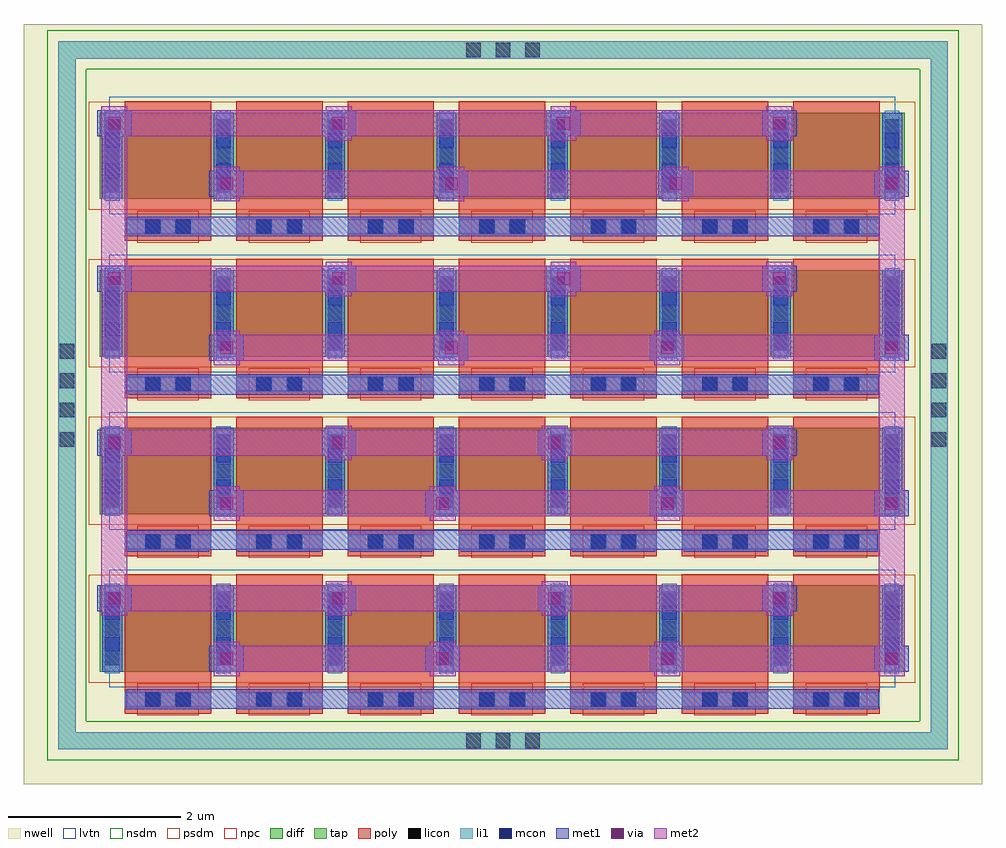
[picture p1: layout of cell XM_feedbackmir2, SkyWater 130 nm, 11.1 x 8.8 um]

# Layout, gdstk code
import gdstk
lib = gdstk.Library(unit=1e-6, precision=1e-09)
def R(c, l, rs):  # rectangles x0, y0, x1, y1
    for r in rs: c.add(gdstk.rectangle(r[:2], r[2:], *l))
def A(c, l, x, y, w, h, nx, ny, dx, dy):  # array of equal rectangles
    R(c, l, [(x+i*dx, y+j*dy, x+i*dx+w, y+j*dy+h) for i in range(nx) for j in range(ny)])
nwell = (64, 20)
diff = (65, 20)
tap = (65, 44)
poly = (66, 20)
licon = (66, 44)
li1 = (67, 20)
mcon = (67, 44)
met1 = (68, 20)
via = (68, 44)
met2 = (69, 20)
nsdm = (93, 44)
psdm = (94, 20)
npc = (95, 20)
lvtn = (125, 44)

sky130_fd_pr__pfet_01v8_ = lib.new_cell('sky130_fd_pr__pfet_01v8_lvt_9UM225')
A(sky130_fd_pr__pfet_01v8_, nwell, -4.84, -3.56, 9.68, 1.81, 1, 4, 0, 1.825)
A(sky130_fd_pr__pfet_01v8_, diff, -4.66, -3.06, 9.32, 1, 1, 4, 0, 1.825)
A(sky130_fd_pr__pfet_01v8_, poly, -4.37, -3.545, 1, 1.615, 7, 4, 1.29, 1.825)
A(sky130_fd_pr__pfet_01v8_, licon, -4.125, -3.465, 0.17, 0.17, 1, 4, 0, 1.825)
A(sky130_fd_pr__pfet_01v8_, licon, -3.785, -3.465, 0.17, 0.17, 1, 4, 0, 1.825)
A(sky130_fd_pr__pfet_01v8_, licon, -2.835, -3.465, 0.17, 0.17, 1, 4, 0, 1.825)
A(sky130_fd_pr__pfet_01v8_, licon, -2.495, -3.465, 0.17, 0.17, 1, 4, 0, 1.825)
A(sky130_fd_pr__pfet_01v8_, licon, -1.545, -3.465, 0.17, 0.17, 1, 4, 0, 1.825)
A(sky130_fd_pr__pfet_01v8_, licon, -1.205, -3.465, 0.17, 0.17, 1, 4, 0, 1.825)
A(sky130_fd_pr__pfet_01v8_, licon, -0.255, -3.465, 0.17, 0.17, 1, 4, 0, 1.825)
A(sky130_fd_pr__pfet_01v8_, licon, 0.085, -3.465, 0.17, 0.17, 1, 4, 0, 1.825)
A(sky130_fd_pr__pfet_01v8_, licon, 1.035, -3.465, 0.17, 0.17, 1, 4, 0, 1.825)
A(sky130_fd_pr__pfet_01v8_, licon, 1.375, -3.465, 0.17, 0.17, 1, 4, 0, 1.825)
A(sky130_fd_pr__pfet_01v8_, licon, 2.325, -3.465, 0.17, 0.17, 1, 4, 0, 1.825)
A(sky130_fd_pr__pfet_01v8_, licon, 2.665, -3.465, 0.17, 0.17, 1, 4, 0, 1.825)
A(sky130_fd_pr__pfet_01v8_, licon, 3.615, -3.465, 0.17, 0.17, 1, 4, 0, 1.825)
A(sky130_fd_pr__pfet_01v8_, licon, 3.955, -3.465, 0.17, 0.17, 1, 4, 0, 1.825)
A(sky130_fd_pr__pfet_01v8_, licon, -4.6, -2.985, 0.17, 0.17, 8, 3, 1.29, 0.34)
A(sky130_fd_pr__pfet_01v8_, licon, -4.6, -1.16, 0.17, 0.17, 8, 3, 1.29, 0.34)
A(sky130_fd_pr__pfet_01v8_, licon, -4.6, 0.665, 0.17, 0.17, 8, 3, 1.29, 0.34)
A(sky130_fd_pr__pfet_01v8_, licon, -4.6, 2.49, 0.17, 0.17, 8, 3, 1.29, 0.34)
A(sky130_fd_pr__pfet_01v8_, li1, -4.37, -3.465, 1, 0.17, 7, 4, 1.29, 1.825)
A(sky130_fd_pr__pfet_01v8_, li1, -4.6, -3.08, 0.17, 1.04, 8, 4, 1.29, 1.825)
A(sky130_fd_pr__pfet_01v8_, mcon, -4.135, -3.465, 0.17, 0.17, 1, 4, 0, 1.825)
A(sky130_fd_pr__pfet_01v8_, mcon, -3.775, -3.465, 0.17, 0.17, 1, 4, 0, 1.825)
A(sky130_fd_pr__pfet_01v8_, mcon, -2.845, -3.465, 0.17, 0.17, 1, 4, 0, 1.825)
A(sky130_fd_pr__pfet_01v8_, mcon, -2.485, -3.465, 0.17, 0.17, 1, 4, 0, 1.825)
A(sky130_fd_pr__pfet_01v8_, mcon, -1.555, -3.465, 0.17, 0.17, 1, 4, 0, 1.825)
A(sky130_fd_pr__pfet_01v8_, mcon, -1.195, -3.465, 0.17, 0.17, 1, 4, 0, 1.825)
A(sky130_fd_pr__pfet_01v8_, mcon, -0.265, -3.465, 0.17, 0.17, 1, 4, 0, 1.825)
A(sky130_fd_pr__pfet_01v8_, mcon, 0.095, -3.465, 0.17, 0.17, 1, 4, 0, 1.825)
A(sky130_fd_pr__pfet_01v8_, mcon, 1.025, -3.465, 0.17, 0.17, 1, 4, 0, 1.825)
A(sky130_fd_pr__pfet_01v8_, mcon, 1.385, -3.465, 0.17, 0.17, 1, 4, 0, 1.825)
A(sky130_fd_pr__pfet_01v8_, mcon, 2.315, -3.465, 0.17, 0.17, 1, 4, 0, 1.825)
A(sky130_fd_pr__pfet_01v8_, mcon, 2.675, -3.465, 0.17, 0.17, 1, 4, 0, 1.825)
A(sky130_fd_pr__pfet_01v8_, mcon, 3.605, -3.465, 0.17, 0.17, 1, 4, 0, 1.825)
A(sky130_fd_pr__pfet_01v8_, mcon, 3.965, -3.465, 0.17, 0.17, 1, 4, 0, 1.825)
A(sky130_fd_pr__pfet_01v8_, mcon, -4.6, -2.825, 0.17, 0.17, 8, 2, 1.29, 0.36)
A(sky130_fd_pr__pfet_01v8_, mcon, -4.6, -1, 0.17, 0.17, 8, 2, 1.29, 0.36)
A(sky130_fd_pr__pfet_01v8_, mcon, -4.6, 0.825, 0.17, 0.17, 8, 2, 1.29, 0.36)
A(sky130_fd_pr__pfet_01v8_, mcon, -4.6, 2.65, 0.17, 0.17, 8, 2, 1.29, 0.36)
A(sky130_fd_pr__pfet_01v8_, met1, -4.35, -3.495, 0.96, 0.23, 7, 4, 1.29, 1.825)
A(sky130_fd_pr__pfet_01v8_, met1, -4.63, -3.06, 0.23, 1, 8, 4, 1.29, 1.825)
A(sky130_fd_pr__pfet_01v8_, psdm, -4.785, -3.185, 9.57, 1.25, 1, 4, 0, 1.825)
A(sky130_fd_pr__pfet_01v8_, npc, -4.225, -3.565, 0.71, 0.37, 7, 4, 1.29, 1.825)
A(sky130_fd_pr__pfet_01v8_, lvtn, -4.55, -3.24, 9.1, 1.36, 1, 4, 0, 1.825)

xm_feedbackmir2 = lib.new_cell('XM_feedbackmir2')
R(xm_feedbackmir2, nwell, [(-0.7,-0.8,10.4,8)])
R(xm_feedbackmir2, tap, [(-0.3,-0.4,10,-0.2), (-0.3,-0.2,-0.1,7.6), (9.8,-0.2,10,7.6), (-0.3,7.6,10,7.8)])
A(xm_feedbackmir2, licon, 4.425, -0.385, 0.17, 0.17, 3, 2, 0.34, 8)
A(xm_feedbackmir2, licon, -0.285, 3.105, 0.17, 0.17, 1, 4, 0, 0.34)
A(xm_feedbackmir2, licon, 9.815, 3.105, 0.17, 0.17, 1, 4, 0, 0.34)
R(xm_feedbackmir2, li1, [(-0.3,-0.4,10,-0.2), (-0.3,-0.2,-0.1,7.6), (9.8,-0.2,10,7.6), (-0.3,7.6,10,7.8)])
A(xm_feedbackmir2, met1, 1.45, 0.5, 0.4, 0.3, 1, 3, 0, 1.8)
A(xm_feedbackmir2, met1, 3.95, 0.5, 0.4, 0.3, 3, 2, 2.6, 1.8)
A(xm_feedbackmir2, met1, 0.15, 4.9, 0.4, 0.3, 3, 2, 2.6, 1.8)
A(xm_feedbackmir2, met1, 1.45, 6, 0.4, 0.3, 3, 1, 2.6, 0)
R(xm_feedbackmir2, met1, [(0.51,0.07,9.2,0.3), (0.15,1.2,0.55,1.5), (2.75,1.2,3.15,1.5), (5.25,1.2,5.65,1.5), (7.85,1.2,8.25,1.5), (0.5,1.91,9.19,2.14), (0.15,3,0.55,3.3), (2.75,3,3.15,3.3), (5.25,3,5.65,3.3), (7.85,3,8.25,3.3), (0.51,3.71,9.2,3.94), (4.05,4.1,4.45,4.4), (6.55,4.1,6.95,4.4), (9.15,4.1,9.55,4.4), (7.85,4.9,8.25,5.2), (0.52,5.54,9.21,5.77), (9.15,6,9.55,6.3), (7.85,6.7,8.25,7)])
A(xm_feedbackmir2, via, 1.575, 0.575, 0.15, 0.15, 1, 3, 0, 1.8)
A(xm_feedbackmir2, via, 4.075, 0.575, 0.15, 0.15, 3, 2, 2.6, 1.8)
A(xm_feedbackmir2, via, 0.275, 4.975, 0.15, 0.15, 3, 2, 2.6, 1.8)
A(xm_feedbackmir2, via, 1.575, 6.075, 0.15, 0.15, 3, 1, 2.6, 0)
R(xm_feedbackmir2, via, [(0.275,1.275,0.425,1.425), (2.875,1.275,3.025,1.425), (5.375,1.275,5.525,1.425), (7.975,1.275,8.125,1.425), (0.275,3.075,0.425,3.225), (2.875,3.075,3.025,3.225), (5.375,3.075,5.525,3.225), (7.975,3.075,8.125,3.225), (4.175,4.175,4.325,4.325), (6.675,4.175,6.825,4.325), (9.275,4.175,9.425,4.325), (7.975,4.975,8.125,5.125), (9.275,6.075,9.425,6.225), (7.975,6.775,8.125,6.925)])
A(xm_feedbackmir2, met2, 4, 0.45, 0.3, 0.05, 3, 1, 2.6, 0)
A(xm_feedbackmir2, met2, 1.5, 0.5, 8, 0.3, 1, 3, 0, 1.8)
A(xm_feedbackmir2, met2, 1.5, 5.95, 0.3, 0.05, 3, 2, 2.6, 0.35)
A(xm_feedbackmir2, met2, 0.2, 7, 0.3, 0.05, 3, 1, 2.6, 0)
R(xm_feedbackmir2, met2, [(1.5,0.45,1.8,0.5), (1.5,0.8,1.8,0.85), (4,0.8,4.3,0.85), (6.6,0.8,6.9,0.85), (9.2,0.8,9.5,2.3), (0.2,1.15,0.5,1.2), (2.8,1.15,3.1,1.2), (5.3,1.15,5.6,1.2), (7.9,1.15,8.2,1.2), (0.2,1.2,8.2,1.5), (0.2,1.5,0.5,3), (2.8,1.5,3.1,1.55), (5.3,1.5,5.6,1.55), (7.9,1.5,8.2,1.55), (1.5,2.25,1.8,2.3), (4,2.25,4.3,2.3), (6.6,2.25,6.9,2.3), (1.5,2.6,1.8,2.65), (4,2.6,4.3,2.65), (6.6,2.6,6.9,2.65), (9.2,2.6,9.5,4.1), (2.8,2.95,3.1,3), (5.3,2.95,5.6,3), (7.9,2.95,8.2,3), (0.2,3,8.2,3.3), (0.2,3.3,0.5,4.9), (2.8,3.3,3.1,3.35), (5.3,3.3,5.6,3.35), (7.9,3.3,8.2,3.35), (1.5,4.05,1.8,4.1), (4.1,4.05,4.4,4.1), (6.6,4.05,6.9,4.1), (1.5,4.4,1.8,4.45), (4.1,4.4,4.4,4.45), (6.6,4.4,6.9,4.45), (9.2,4.4,9.5,6), (2.8,4.85,3.1,4.9), (5.4,4.85,5.7,4.9), (7.9,4.85,8.2,4.9), (0.2,4.9,8.2,5.2), (0.2,5.2,0.5,6.7), (2.8,5.2,3.1,5.25), (5.4,5.2,5.7,5.25), (7.9,5.2,8.2,5.25), (1.5,6,9.5,6.3), (9.2,6.3,9.5,6.35), (2.8,6.65,3.1,6.7), (5.4,6.65,5.7,6.7), (7.9,6.65,8.2,6.7), (0.2,6.7,8.2,7), (7.9,7,8.2,7.05)])
R(xm_feedbackmir2, nsdm, [(-0.425,-0.525,10.125,-0.075), (-0.425,-0.075,0.025,7.475), (9.675,-0.075,10.125,7.475), (-0.425,7.475,10.125,7.925)])
xm_feedbackmir2.add(gdstk.Reference(sky130_fd_pr__pfet_01v8_, (4.84,3.56)))

lib.write_gds('XM_feedbackmir2.gds')
